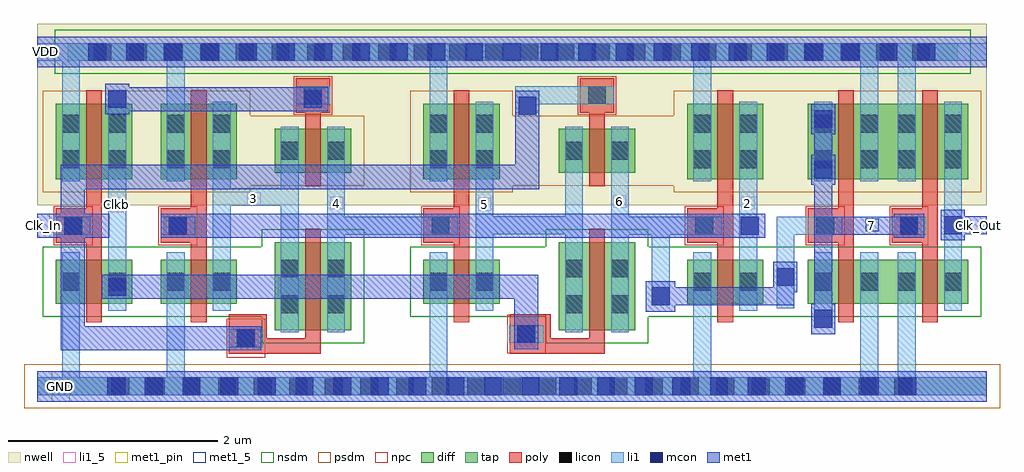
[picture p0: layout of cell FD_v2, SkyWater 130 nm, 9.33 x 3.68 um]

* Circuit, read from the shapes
.subckt FD_v2 2 3 4 5 6 7 Clk_In Clk_Out Clkb GND VDD
XM1 Clkb Clk_In GND GND sky130_fd_pr__nfet_01v8 w=0.42 l=0.15
XM2 3 2 GND GND sky130_fd_pr__nfet_01v8 w=0.42 l=0.15
XM3 4 Clk_In 3 GND sky130_fd_pr__nfet_01v8 w=0.84 l=0.15
XM4 5 4 GND GND sky130_fd_pr__nfet_01v8 w=0.42 l=0.15
XM5 6 Clkb 5 GND sky130_fd_pr__nfet_01v8 w=0.84 l=0.15
XM6 2 6 GND GND sky130_fd_pr__nfet_01v8 w=0.42 l=0.15
XM7 GND 6 7 GND sky130_fd_pr__nfet_01v8 w=0.42 l=0.15
XM8 Clk_Out 7 GND GND sky130_fd_pr__nfet_01v8 w=0.42 l=0.15
XM9 Clkb Clk_In VDD VDD sky130_fd_pr__pfet_01v8 w=0.72 l=0.15
XM10 3 2 VDD VDD sky130_fd_pr__pfet_01v8 w=0.72 l=0.15
XM11 4 Clkb 3 VDD sky130_fd_pr__pfet_01v8 w=0.42 l=0.15
XM12 5 4 VDD VDD sky130_fd_pr__pfet_01v8 w=0.72 l=0.15
XM13 6 Clk_In 5 VDD sky130_fd_pr__pfet_01v8 w=0.42 l=0.15
XM14 2 6 VDD VDD sky130_fd_pr__pfet_01v8 w=0.72 l=0.15
XM15 VDD 6 7 VDD sky130_fd_pr__pfet_01v8 w=0.72 l=0.15
XM16 Clk_Out 7 VDD VDD sky130_fd_pr__pfet_01v8 w=0.72 l=0.15
.ends

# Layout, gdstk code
import gdstk
lib = gdstk.Library(unit=1e-6, precision=1e-09)
def R(c, l, rs):  # rectangles x0, y0, x1, y1
    for r in rs: c.add(gdstk.rectangle(r[:2], r[2:], *l))
def A(c, l, x, y, w, h, nx, ny, dx, dy):  # array of equal rectangles
    R(c, l, [(x+i*dx, y+j*dy, x+i*dx+w, y+j*dy+h) for i in range(nx) for j in range(ny)])
nwell = (64, 20)
diff = (65, 20)
tap = (65, 44)
poly = (66, 20)
licon = (66, 44)
li1_5 = (67, 5)
li1 = (67, 20)
mcon = (67, 44)
met1_5 = (68, 5)
met1_pin = (68, 16)
met1 = (68, 20)
nsdm = (93, 44)
psdm = (94, 20)
npc = (95, 20)

sky130_fd_pr__nfet_01v8_ = lib.new_cell('sky130_fd_pr__nfet_01v8_PW5BNL')
R(sky130_fd_pr__nfet_01v8_, diff, [(-0.365,-0.395,0.365,0.025)])
R(sky130_fd_pr__nfet_01v8_, poly, [(-0.075,-0.575,0.075,0.185), (-0.365,0.185,0.075,0.515)])
R(sky130_fd_pr__nfet_01v8_, licon, [(-0.305,-0.27,-0.135,-0.1), (0.135,-0.27,0.305,-0.1), (-0.285,0.265,-0.115,0.435)])
R(sky130_fd_pr__nfet_01v8_, li1, [(-0.305,-0.465,-0.135,0.095), (0.135,-0.465,0.305,0.095), (-0.365,0.265,-0.035,0.435)])
R(sky130_fd_pr__nfet_01v8_, nsdm, [(-0.49,-0.52,0.49,0.15)])
R(sky130_fd_pr__nfet_01v8_, npc, [(-0.385,0.165,-0.015,0.535)])

sky130_fd_pr__pfet_01v8_ = lib.new_cell('sky130_fd_pr__pfet_01v8_A7DS5R')
R(sky130_fd_pr__pfet_01v8_, nwell, [(-0.545,-0.43,0.545,0.85)])
R(sky130_fd_pr__pfet_01v8_, diff, [(-0.365,-0.18,0.365,0.54)])
R(sky130_fd_pr__pfet_01v8_, poly, [(-0.075,-0.665,0.075,0.67)])
R(sky130_fd_pr__pfet_01v8_, licon, [(-0.305,-0.075,-0.135,0.095), (0.135,-0.075,0.305,0.095), (-0.305,0.265,-0.135,0.435), (0.135,0.265,0.305,0.435)])
R(sky130_fd_pr__pfet_01v8_, li1, [(-0.305,-0.2,-0.135,0.56), (0.135,-0.2,0.305,0.56)])
R(sky130_fd_pr__pfet_01v8_, psdm, [(-0.49,-0.305,0.49,0.665)])

c_sky130_fd_pr__nfet_01v8_ = lib.new_cell('sky130_fd_pr__nfet_01v8_NDE37H')
R(c_sky130_fd_pr__nfet_01v8_, diff, [(-0.365,-0.575,0.365,0.265)])
R(c_sky130_fd_pr__nfet_01v8_, poly, [(-0.075,-0.705,0.075,0.34), (-0.59,0.11,-0.44,0.34), (-0.59,0.34,0.075,0.49)])
R(c_sky130_fd_pr__nfet_01v8_, licon, [(-0.305,-0.41,-0.135,-0.24), (0.135,-0.41,0.305,-0.24), (-0.305,-0.07,-0.135,0.1), (0.135,-0.07,0.305,0.1)])
R(c_sky130_fd_pr__nfet_01v8_, li1, [(-0.305,-0.595,-0.135,0.285), (0.135,-0.595,0.305,0.285)])
R(c_sky130_fd_pr__nfet_01v8_, nsdm, [(-0.49,-0.7,0.49,0.39)])

c_sky130_fd_pr__pfet_01v8_ = lib.new_cell('sky130_fd_pr__pfet_01v8_ACPHKB')
R(c_sky130_fd_pr__pfet_01v8_, nwell, [(-0.545,-0.7,0.545,0.53)])
R(c_sky130_fd_pr__pfet_01v8_, diff, [(-0.365,-0.39,0.365,0.03)])
R(c_sky130_fd_pr__pfet_01v8_, poly, [(-0.075,-0.52,0.075,0.185), (-0.165,0.185,0.165,0.515)])
R(c_sky130_fd_pr__pfet_01v8_, licon, [(-0.305,-0.265,-0.135,-0.095), (0.135,-0.265,0.305,-0.095), (-0.085,0.265,0.085,0.435)])
R(c_sky130_fd_pr__pfet_01v8_, li1, [(-0.305,-0.41,-0.135,0.05), (0.135,-0.41,0.305,0.05), (-0.165,0.265,0.165,0.435)])
R(c_sky130_fd_pr__pfet_01v8_, psdm, [(-0.49,-0.515,0.49,0.155)])
R(c_sky130_fd_pr__pfet_01v8_, npc, [(-0.185,0.165,0.185,0.535)])

fd_v2 = lib.new_cell('FD_v2')
R(fd_v2, nwell, [(0.34,-1.565,9.415,0.17)])
R(fd_v2, diff, [(8.435,-2.505,8.505,-2.085), (8.435,-1.315,8.505,-0.595)])
R(fd_v2, tap, [(0.34,-3.38,9.415,-3.21), (0.635,-0.185,9.135,-0.015)])
R(fd_v2, poly, [(2.17,-2.985,2.505,-2.605), (4.855,-2.985,5.25,-2.605)])
A(fd_v2, licon, 1.05, -3.38, 0.17, 0.17, 23, 1, 0.34, 0)
A(fd_v2, licon, 0.88, -0.185, 0.17, 0.17, 24, 1, 0.34, 0)
R(fd_v2, licon, [(2.25,-2.92,2.42,-2.75), (4.93,-2.88,5.1,-2.71)])
R(fd_v2, li1_5, [(1.04,-1.63,1.165,-1.49), (4.555,-1.615,4.68,-1.495), (3.14,-1.605,3.265,-1.485), (7.07,-1.605,7.195,-1.485), (5.845,-1.59,5.97,-1.47), (2.35,-1.56,2.475,-1.44)])
R(fd_v2, li1, [(0.34,-3.38,9.415,-3.21), (0.58,-3.21,0.75,-2.515), (1.58,-3.21,1.75,-2.385), (4.09,-3.21,4.26,-2.44), (6.61,-3.21,6.78,-2.505), (8.205,-3.21,8.375,-2.43), (8.565,-3.21,8.735,-2.43), (2.17,-2.92,2.5,-2.75), (4.85,-2.88,5.18,-2.71), (7.765,-2.735,7.935,-2.385), (7.405,-2.55,7.575,-1.845), (6.215,-2.52,6.385,-1.845), (1.02,-2.43,1.19,-2.26), (7.765,-2.35,7.935,-2.18), (1.02,-2.015,1.19,-1.335), (2.02,-2.015,2.19,-1.57), (4.53,-2.015,4.7,-1.84), (7.05,-2.015,7.22,-1.845), (9.005,-2.015,9.175,-1.045), (5.385,-1.985,5.555,-1.84), (2.67,-1.9,2.84,-1.57), (3.11,-1.9,3.28,-1.845), (5.825,-1.9,5.995,-1.845), (0.6,-1.845,0.77,-1.675), (1.6,-1.845,1.77,-1.675), (3.11,-1.845,4.05,-1.675), (5.825,-1.845,6.55,-1.675), (7.05,-1.845,7.235,-1.675), (7.405,-1.845,7.705,-1.675), (7.78,-1.845,7.95,-1.675), (8.585,-1.845,8.755,-1.675), (4.53,-1.84,5.555,-1.67), (3.11,-1.675,3.28,-0.93), (5.825,-1.675,5.995,-0.93), (7.05,-1.675,7.22,-1.045), (4.53,-1.67,4.7,-1.045), (5.385,-1.67,5.555,-0.935), (2.02,-1.57,2.84,-1.4), (2.02,-1.4,2.19,-1.125), (2.67,-1.4,2.84,-1.01), (7.765,-1.31,7.935,-1.14), (7.765,-0.825,7.935,-0.655), (4.94,-0.7,5.11,-0.68), (4.91,-0.68,5.14,-0.6), (0.58,-0.655,0.75,-0.185), (4.09,-0.655,4.26,-0.185), (6.61,-0.655,6.78,-0.185), (8.205,-0.655,8.375,-0.185), (8.565,-0.655,8.735,-0.185), (1.02,-0.635,1.19,-0.465), (2.89,-0.635,3.06,-0.465), (4.91,-0.6,5.575,-0.43), (1.58,-0.575,1.75,-0.185), (0.34,-0.185,9.415,-0.015)])
A(fd_v2, mcon, 1.01, -3.38, 0.17, 0.17, 22, 1, 0.36, 0)
A(fd_v2, mcon, 0.83, -0.185, 0.17, 0.17, 23, 1, 0.36, 0)
R(fd_v2, mcon, [(2.25,-2.92,2.42,-2.75), (4.93,-2.88,5.1,-2.71), (7.765,-2.735,7.935,-2.565), (6.215,-2.52,6.385,-2.35), (1.02,-2.43,1.19,-2.26), (7.405,-2.335,7.575,-2.165), (0.6,-1.845,0.77,-1.675), (1.6,-1.845,1.77,-1.675), (7.065,-1.845,7.235,-1.675), (8.585,-1.845,8.755,-1.675), (9.005,-1.84,9.175,-1.67), (7.765,-1.31,7.935,-1.14), (7.765,-0.825,7.935,-0.655), (4.94,-0.7,5.11,-0.53), (1.02,-0.635,1.19,-0.465), (2.89,-0.635,3.06,-0.465)])
R(fd_v2, met1_5, [(8.255,-1.815,8.38,-1.695)])
R(fd_v2, met1_pin, [(0.48,-3.44,0.65,-3.15), (0.34,-1.875,0.46,-1.645), (9.245,-1.84,9.415,-1.67), (0.34,-0.245,0.51,0.045)])
R(fd_v2, met1, [(0.34,-3.44,9.415,-3.15), (0.565,-2.95,2.48,-2.72), (4.9,-2.94,5.13,-2.46), (7.735,-2.795,7.965,-2.505), (0.565,-2.72,0.795,-1.875), (6.155,-2.58,6.435,-2.52), (6.155,-2.52,7.575,-2.395), (7.765,-2.505,7.935,-1.845), (0.96,-2.46,5.13,-2.23), (6.155,-2.395,7.605,-2.35), (6.155,-2.35,6.435,-2.29), (7.375,-2.35,7.605,-2.105), (8.975,-1.9,9.205,-1.84), (0.34,-1.875,1.03,-1.645), (1.52,-1.875,7.295,-1.645), (8.525,-1.875,8.815,-1.845), (7.765,-1.845,8.815,-1.675), (8.975,-1.84,9.415,-1.67), (7.765,-1.675,7.935,-1.37), (8.525,-1.675,8.815,-1.645), (8.975,-1.67,9.205,-1.61), (0.565,-1.645,0.795,-1.41), (0.565,-1.41,5.14,-1.18), (7.735,-1.37,7.965,-1.08), (4.91,-1.18,5.14,-0.47), (7.765,-1.08,7.935,-0.885), (7.735,-0.885,7.965,-0.595), (0.99,-0.695,1.22,-0.665), (0.99,-0.665,3.12,-0.435), (0.99,-0.435,1.22,-0.405), (0.34,-0.245,9.415,0.045)])
R(fd_v2, nsdm, [(1.375,-2.63,1.395,-1.96), (2.375,-2.63,2.485,-1.96), (4.885,-2.63,5.2,-1.96), (6.18,-2.63,6.425,-1.96), (7.405,-2.63,7.58,-1.96), (8.31,-2.63,8.63,-1.96), (0.51,-0.31,9.26,0.11)])
R(fd_v2, psdm, [(0.215,-3.505,9.54,-3.085), (1.375,-1.44,1.395,-0.47), (7.405,-1.44,7.58,-0.47), (8.31,-1.44,8.63,-0.47), (2.375,-1.38,2.485,-0.71), (4.885,-1.38,5.2,-0.71), (6.18,-1.38,6.425,-0.71)])
R(fd_v2, npc, [(2.15,-3.02,2.52,-2.65), (4.83,-2.98,5.2,-2.61)])
fd_v2.add(gdstk.Reference(sky130_fd_pr__nfet_01v8_, (0.885,-2.11)))
fd_v2.add(gdstk.Reference(sky130_fd_pr__pfet_01v8_, (1.885,-1.135)))
fd_v2.add(gdstk.Reference(sky130_fd_pr__pfet_01v8_, (0.885,-1.135)))
fd_v2.add(gdstk.Reference(sky130_fd_pr__nfet_01v8_, (1.885,-2.11)))
fd_v2.add(gdstk.Reference(c_sky130_fd_pr__nfet_01v8_, (2.975,-2.495), x_reflection=True))
fd_v2.add(gdstk.Reference(c_sky130_fd_pr__pfet_01v8_, (2.975,-0.865)))
fd_v2.add(gdstk.Reference(sky130_fd_pr__nfet_01v8_, (4.395,-2.11)))
fd_v2.add(gdstk.Reference(sky130_fd_pr__pfet_01v8_, (4.395,-1.135)))
fd_v2.add(gdstk.Reference(c_sky130_fd_pr__nfet_01v8_, (5.69,-2.495), x_reflection=True))
fd_v2.add(gdstk.Reference(c_sky130_fd_pr__pfet_01v8_, (5.69,-0.865)))
fd_v2.add(gdstk.Reference(sky130_fd_pr__nfet_01v8_, (6.915,-2.11)))
fd_v2.add(gdstk.Reference(sky130_fd_pr__pfet_01v8_, (6.915,-1.135)))
fd_v2.add(gdstk.Reference(sky130_fd_pr__nfet_01v8_, (8.07,-2.11)))
fd_v2.add(gdstk.Reference(sky130_fd_pr__pfet_01v8_, (8.07,-1.135)))
fd_v2.add(gdstk.Reference(sky130_fd_pr__nfet_01v8_, (8.87,-2.11)))
fd_v2.add(gdstk.Reference(sky130_fd_pr__pfet_01v8_, (8.87,-1.135)))
fd_v2.add(gdstk.Label('Clkb', (1.102,-1.56), layer=67, texttype=5))
fd_v2.add(gdstk.Label('3', (2.412,-1.5), layer=67, texttype=5))
fd_v2.add(gdstk.Label('4', (3.202,-1.545), layer=67, texttype=5))
fd_v2.add(gdstk.Label('5', (4.617,-1.555), layer=67, texttype=5))
fd_v2.add(gdstk.Label('6', (5.907,-1.53), layer=67, texttype=5))
fd_v2.add(gdstk.Label('2', (7.132,-1.545), layer=67, texttype=5))
fd_v2.add(gdstk.Label('7', (8.317,-1.755), layer=68, texttype=5))
fd_v2.add(gdstk.Label('Clk_In', (0.4,-1.76), layer=68, texttype=16))
fd_v2.add(gdstk.Label('VDD', (0.425,-0.1), layer=68, texttype=16))
fd_v2.add(gdstk.Label('GND', (0.565,-3.295), layer=68, texttype=16))
fd_v2.add(gdstk.Label('Clk_Out', (9.33,-1.755), layer=68, texttype=16))

lib.write_gds('FD_v2.gds')
